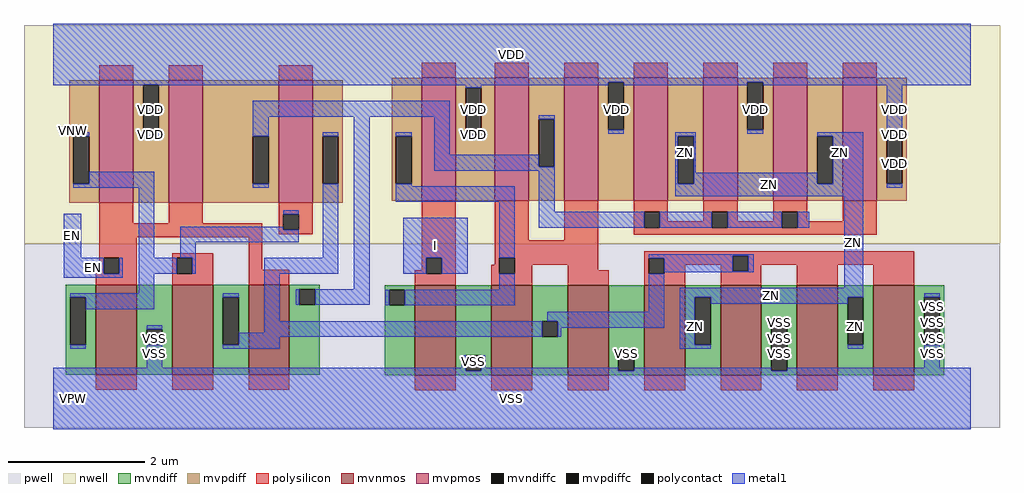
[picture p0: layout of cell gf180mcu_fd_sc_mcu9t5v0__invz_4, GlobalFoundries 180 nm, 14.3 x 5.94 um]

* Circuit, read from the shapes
.subckt gf180mcu_fd_sc_mcu9t5v0__invz_4 EN I ZN VDD VNW VPW VSS
XM1 VSS EN n1 VPW nfet_06v0 w=1.32u l=0.6u
XM2 n2 n1 VSS VPW nfet_06v0 w=1.32u l=0.6u
XM3 n3 EN n2 VPW nfet_06v0 w=1.32u l=0.6u
XM4 VSS I n4 VPW nfet_06v0 w=1.32u l=0.6u
XM5 n2 n4 VSS VPW nfet_06v0 w=1.32u l=0.6u m=2
XM6 ZN n2 VSS VPW nfet_06v0 w=1.32u l=0.6u m=4
XM7 VDD EN n1 VNW pfet_06v0 w=1.8u l=0.5u
XM8 n3 EN VDD VNW pfet_06v0 w=1.8u l=0.5u
XM9 n2 n1 n3 VNW pfet_06v0 w=1.8u l=0.5u
XM10 VDD I n4 VNW pfet_06v0 w=1.8u l=0.5u
XM11 n3 n4 VDD VNW pfet_06v0 w=1.8u l=0.5u m=2
XM12 ZN n3 VDD VNW pfet_06v0 w=1.8u l=0.5u m=4
.ends

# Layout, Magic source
magic
tech gf180mcuD
magscale 1 10
<< nwell >>
rect -86 453 2774 1094
<< pwell >>
rect -86 -86 2774 453
<< mvnmos >>
rect 124 69 244 333
rect 348 69 468 333
rect 572 69 692 333
rect 1059 68 1179 332
rect 1283 68 1403 332
rect 1507 68 1627 332
rect 1731 68 1851 332
rect 1955 68 2075 332
rect 2179 68 2299 332
rect 2403 68 2523 332
<< mvpmos >>
rect 134 573 234 933
rect 338 573 438 933
rect 660 573 760 933
rect 1079 580 1179 940
rect 1293 580 1393 940
rect 1497 580 1597 940
rect 1701 580 1801 940
rect 1905 580 2005 940
rect 2109 580 2209 940
rect 2313 580 2413 940
<< mvndiff >>
rect 36 297 124 333
rect 36 157 49 297
rect 95 157 124 297
rect 36 69 124 157
rect 244 203 348 333
rect 244 157 273 203
rect 319 157 348 203
rect 244 69 348 157
rect 468 297 572 333
rect 468 157 497 297
rect 543 157 572 297
rect 468 69 572 157
rect 692 320 780 333
rect 692 274 721 320
rect 767 274 780 320
rect 692 69 780 274
rect 971 319 1059 332
rect 971 273 984 319
rect 1030 273 1059 319
rect 971 68 1059 273
rect 1179 127 1283 332
rect 1179 81 1208 127
rect 1254 81 1283 127
rect 1179 68 1283 81
rect 1403 227 1507 332
rect 1403 181 1432 227
rect 1478 181 1507 227
rect 1403 68 1507 181
rect 1627 127 1731 332
rect 1627 81 1656 127
rect 1702 81 1731 127
rect 1627 68 1731 81
rect 1851 297 1955 332
rect 1851 157 1880 297
rect 1926 157 1955 297
rect 1851 68 1955 157
rect 2075 221 2179 332
rect 2075 81 2104 221
rect 2150 81 2179 221
rect 2075 68 2179 81
rect 2299 297 2403 332
rect 2299 157 2328 297
rect 2374 157 2403 297
rect 2299 68 2403 157
rect 2523 297 2611 332
rect 2523 157 2552 297
rect 2598 157 2611 297
rect 2523 68 2611 157
<< mvpdiff >>
rect 46 769 134 933
rect 46 629 59 769
rect 105 629 134 769
rect 46 573 134 629
rect 234 920 338 933
rect 234 780 263 920
rect 309 780 338 920
rect 234 573 338 780
rect 438 769 660 933
rect 438 629 585 769
rect 631 629 660 769
rect 438 573 660 629
rect 760 769 848 933
rect 760 629 789 769
rect 835 629 848 769
rect 760 573 848 629
rect 991 769 1079 940
rect 991 629 1004 769
rect 1050 629 1079 769
rect 991 580 1079 629
rect 1179 911 1293 940
rect 1179 771 1208 911
rect 1254 771 1293 911
rect 1179 580 1293 771
rect 1393 819 1497 940
rect 1393 679 1422 819
rect 1468 679 1497 819
rect 1393 580 1497 679
rect 1597 927 1701 940
rect 1597 787 1626 927
rect 1672 787 1701 927
rect 1597 580 1701 787
rect 1801 769 1905 940
rect 1801 629 1830 769
rect 1876 629 1905 769
rect 1801 580 1905 629
rect 2005 927 2109 940
rect 2005 787 2034 927
rect 2080 787 2109 927
rect 2005 580 2109 787
rect 2209 769 2313 940
rect 2209 629 2238 769
rect 2284 629 2313 769
rect 2209 580 2313 629
rect 2413 769 2501 940
rect 2413 629 2442 769
rect 2488 629 2501 769
rect 2413 580 2501 629
<< mvndiffc >>
rect 49 157 95 297
rect 273 157 319 203
rect 497 157 543 297
rect 721 274 767 320
rect 984 273 1030 319
rect 1208 81 1254 127
rect 1432 181 1478 227
rect 1656 81 1702 127
rect 1880 157 1926 297
rect 2104 81 2150 221
rect 2328 157 2374 297
rect 2552 157 2598 297
<< mvpdiffc >>
rect 59 629 105 769
rect 263 780 309 920
rect 585 629 631 769
rect 789 629 835 769
rect 1004 629 1050 769
rect 1208 771 1254 911
rect 1422 679 1468 819
rect 1626 787 1672 927
rect 1830 629 1876 769
rect 2034 787 2080 927
rect 2238 629 2284 769
rect 2442 629 2488 769
<< polysilicon >>
rect 134 933 234 977
rect 338 933 438 977
rect 660 933 760 977
rect 1079 940 1179 984
rect 1293 940 1393 984
rect 1497 940 1597 984
rect 1701 940 1801 984
rect 1905 940 2005 984
rect 2109 940 2209 984
rect 2313 940 2413 984
rect 134 513 234 573
rect 338 513 438 573
rect 660 540 760 573
rect 134 473 612 513
rect 660 494 673 540
rect 719 494 760 540
rect 660 481 760 494
rect 134 412 244 473
rect 134 377 147 412
rect 124 366 147 377
rect 193 366 244 412
rect 124 333 244 366
rect 348 412 468 425
rect 348 366 361 412
rect 407 366 468 412
rect 348 333 468 366
rect 572 377 612 473
rect 1079 412 1179 580
rect 572 333 692 377
rect 1079 376 1092 412
rect 1059 366 1092 376
rect 1138 366 1179 412
rect 1293 463 1393 580
rect 1497 463 1597 580
rect 1701 547 1801 580
rect 1701 501 1731 547
rect 1777 520 1801 547
rect 1905 547 2005 580
rect 1905 520 1930 547
rect 1777 501 1930 520
rect 1976 520 2005 547
rect 2109 547 2209 580
rect 2109 520 2135 547
rect 1976 501 2135 520
rect 2181 520 2209 547
rect 2313 520 2413 580
rect 2181 501 2413 520
rect 1701 480 2413 501
rect 1293 412 1597 463
rect 1293 392 1306 412
rect 1059 332 1179 366
rect 1283 366 1306 392
rect 1352 392 1597 412
rect 1352 366 1403 392
rect 1283 332 1403 366
rect 1507 376 1597 392
rect 1731 419 2523 432
rect 1731 411 1991 419
rect 1507 332 1627 376
rect 1731 365 1744 411
rect 1790 392 1991 411
rect 1790 365 1851 392
rect 1731 332 1851 365
rect 1955 373 1991 392
rect 2037 392 2523 419
rect 2037 373 2075 392
rect 1955 332 2075 373
rect 2179 332 2299 392
rect 2403 332 2523 392
rect 124 25 244 69
rect 348 25 468 69
rect 572 25 692 69
rect 1059 24 1179 68
rect 1283 24 1403 68
rect 1507 24 1627 68
rect 1731 24 1851 68
rect 1955 24 2075 68
rect 2179 24 2299 68
rect 2403 24 2523 68
<< polycontact >>
rect 673 494 719 540
rect 147 366 193 412
rect 361 366 407 412
rect 1092 366 1138 412
rect 1731 501 1777 547
rect 1930 501 1976 547
rect 2135 501 2181 547
rect 1306 366 1352 412
rect 1744 365 1790 411
rect 1991 373 2037 419
<< metal1 >>
rect 0 927 2688 1098
rect 0 920 1626 927
rect 0 918 263 920
rect 309 918 1626 920
rect 1208 911 1254 918
rect 59 769 105 780
rect 263 769 309 780
rect 585 826 1162 872
rect 585 769 631 826
rect 105 629 296 664
rect 59 618 296 629
rect 585 618 631 629
rect 789 769 835 780
rect 30 412 82 542
rect 250 412 296 618
rect 673 540 719 551
rect 372 494 673 504
rect 372 458 719 494
rect 372 412 418 458
rect 789 412 835 629
rect 30 366 147 412
rect 193 366 204 412
rect 30 354 204 366
rect 250 366 361 412
rect 407 366 418 412
rect 618 366 835 412
rect 250 308 296 366
rect 49 297 296 308
rect 95 262 296 297
rect 497 297 543 308
rect 49 146 95 157
rect 273 203 319 214
rect 273 90 319 157
rect 618 227 664 366
rect 881 320 927 826
rect 1004 769 1050 780
rect 1116 714 1162 826
rect 1208 760 1254 771
rect 1422 819 1469 830
rect 1116 679 1422 714
rect 1468 679 1469 819
rect 1672 918 2034 927
rect 1626 776 1672 787
rect 2080 918 2688 927
rect 1116 668 1469 679
rect 1004 622 1050 629
rect 1004 576 1352 622
rect 1026 412 1214 530
rect 1026 366 1092 412
rect 1138 366 1214 412
rect 1306 412 1352 576
rect 1423 547 1469 668
rect 1822 769 1882 780
rect 2034 776 2080 787
rect 1822 629 1830 769
rect 1876 662 1882 769
rect 2238 769 2374 780
rect 1876 629 2238 662
rect 2284 629 2374 769
rect 1822 593 2374 629
rect 2442 769 2488 918
rect 2442 618 2488 629
rect 1423 501 1731 547
rect 1777 501 1930 547
rect 1976 501 2135 547
rect 2181 501 2215 547
rect 710 274 721 320
rect 767 274 927 320
rect 1306 319 1352 366
rect 973 273 984 319
rect 1030 273 1352 319
rect 1744 419 2053 422
rect 1744 411 1991 419
rect 1790 373 1991 411
rect 2037 373 2053 419
rect 1790 370 2053 373
rect 1744 254 1790 365
rect 2317 324 2374 593
rect 1447 227 1790 254
rect 618 192 1432 227
rect 543 181 1432 192
rect 1478 208 1790 227
rect 1836 297 2374 324
rect 1478 181 1489 208
rect 543 157 663 181
rect 497 146 663 157
rect 1836 157 1880 297
rect 1926 278 2328 297
rect 1836 146 1926 157
rect 2104 221 2150 232
rect 1656 127 1702 138
rect 1197 90 1208 127
rect 0 81 1208 90
rect 1254 90 1265 127
rect 1254 81 1656 90
rect 1702 81 2104 90
rect 2328 146 2374 157
rect 2552 297 2598 308
rect 2552 90 2598 157
rect 2150 81 2688 90
rect 0 -90 2688 81
<< labels >>
flabel metal1 s 30 412 82 542 0 FreeSans 200 0 0 0 EN
port 1 nsew default input
flabel metal1 s 1026 366 1214 530 0 FreeSans 200 0 0 0 I
port 2 nsew default input
flabel metal1 s 0 918 2688 1098 0 FreeSans 200 0 0 0 VDD
port 4 nsew power bidirectional abutment
flabel metal1 s 2552 232 2598 308 0 FreeSans 200 0 0 0 VSS
port 7 nsew ground bidirectional abutment
flabel metal1 s 2238 662 2374 780 0 FreeSans 200 0 0 0 ZN
port 3 nsew default output
flabel nwell s 10 734 110 834 0 FreeSans 400 0 0 0 VNW
port 5 nsew power bidirectional
flabel pwell s 10 -50 110 50 0 FreeSans 400 0 0 0 VPW
port 6 nsew ground bidirectional
rlabel metal1 s 30 354 204 412 1 EN
port 1 nsew default input
rlabel metal1 s 1822 662 1882 780 1 ZN
port 3 nsew default output
rlabel metal1 s 1822 593 2374 662 1 ZN
port 3 nsew default output
rlabel metal1 s 2317 324 2374 593 1 ZN
port 3 nsew default output
rlabel metal1 s 1836 278 2374 324 1 ZN
port 3 nsew default output
rlabel metal1 s 2328 146 2374 278 1 ZN
port 3 nsew default output
rlabel metal1 s 1836 146 1926 278 1 ZN
port 3 nsew default output
rlabel metal1 s 2442 776 2488 918 1 VDD
port 4 nsew power bidirectional abutment
rlabel metal1 s 2034 776 2080 918 1 VDD
port 4 nsew power bidirectional abutment
rlabel metal1 s 1626 776 1672 918 1 VDD
port 4 nsew power bidirectional abutment
rlabel metal1 s 1208 776 1254 918 1 VDD
port 4 nsew power bidirectional abutment
rlabel metal1 s 263 776 309 918 1 VDD
port 4 nsew power bidirectional abutment
rlabel metal1 s 2442 769 2488 776 1 VDD
port 4 nsew power bidirectional abutment
rlabel metal1 s 1208 769 1254 776 1 VDD
port 4 nsew power bidirectional abutment
rlabel metal1 s 263 769 309 776 1 VDD
port 4 nsew power bidirectional abutment
rlabel metal1 s 2442 760 2488 769 1 VDD
port 4 nsew power bidirectional abutment
rlabel metal1 s 1208 760 1254 769 1 VDD
port 4 nsew power bidirectional abutment
rlabel metal1 s 2442 618 2488 760 1 VDD
port 4 nsew power bidirectional abutment
rlabel metal1 s 2552 214 2598 232 1 VSS
port 7 nsew ground bidirectional abutment
rlabel metal1 s 2104 214 2150 232 1 VSS
port 7 nsew ground bidirectional abutment
rlabel metal1 s 2552 138 2598 214 1 VSS
port 7 nsew ground bidirectional abutment
rlabel metal1 s 2104 138 2150 214 1 VSS
port 7 nsew ground bidirectional abutment
rlabel metal1 s 273 138 319 214 1 VSS
port 7 nsew ground bidirectional abutment
rlabel metal1 s 2552 127 2598 138 1 VSS
port 7 nsew ground bidirectional abutment
rlabel metal1 s 2104 127 2150 138 1 VSS
port 7 nsew ground bidirectional abutment
rlabel metal1 s 1656 127 1702 138 1 VSS
port 7 nsew ground bidirectional abutment
rlabel metal1 s 273 127 319 138 1 VSS
port 7 nsew ground bidirectional abutment
rlabel metal1 s 2552 90 2598 127 1 VSS
port 7 nsew ground bidirectional abutment
rlabel metal1 s 2104 90 2150 127 1 VSS
port 7 nsew ground bidirectional abutment
rlabel metal1 s 1656 90 1702 127 1 VSS
port 7 nsew ground bidirectional abutment
rlabel metal1 s 1197 90 1265 127 1 VSS
port 7 nsew ground bidirectional abutment
rlabel metal1 s 273 90 319 127 1 VSS
port 7 nsew ground bidirectional abutment
rlabel metal1 s 0 -90 2688 90 1 VSS
port 7 nsew ground bidirectional abutment
<< properties >>
string FIXED_BBOX 0 0 2688 1008
string GDS_END 943738
string GDS_FILE $PDKPATH/libs.ref/gf180mcu_fd_sc_mcu9t5v0/gds/gf180mcu_fd_sc_mcu9t5v0.gds
string GDS_START 936566
string LEFclass core
string LEFsite GF018hv5v_green_sc9
string LEFsymmetry X Y
<< end >>
